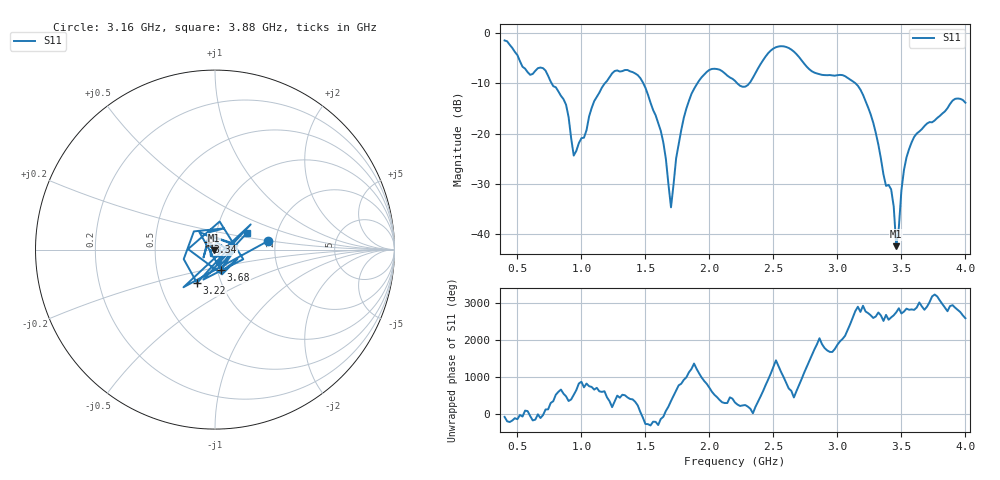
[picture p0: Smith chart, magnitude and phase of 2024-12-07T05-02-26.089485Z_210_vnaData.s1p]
!Created with skrf (http://scikit-rf.org).
# Hz S RI R 50.0
!freq ReS11 ImS11
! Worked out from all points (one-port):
!   181 points, 400 MHz to 4 GHz, reference 50 ohm
!   lowest |S11| = -42.4 dB at 3.46 GHz (marker M1), VSWR 1.02, Z = 49.4 - j0.485 ohm
!   |S11| at or under -10 dB: 767.8 MHz to 1.183 GHz (415 MHz wide, 42.5 % of centre); 1.484 GHz to 1.906 GHz (422 MHz wide, 24.9 % of centre); 3.142 GHz to end of sweep (the widest 3 of 4)
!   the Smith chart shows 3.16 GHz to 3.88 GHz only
!   S11 on the Smith chart (normalised r, x): 3.16 GHz: 1.83, +0.19; 3.22 GHz: 0.77, -0.30; 3.34 GHz: 0.92, +0.08; 3.68 GHz: 1.04, -0.24; 3.88 GHz: 1.40, +0.26
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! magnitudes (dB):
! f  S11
! 400 MHz  -1.5
! 860 MHz  -13.1
! 940 MHz  -24.4
! 1.1 GHz  -13.5
! 1.3 GHz  -7.6
! 1.5 GHz  -10.9
! 1.64 GHz  -21.8
! 1.7 GHz  -34.7
! 1.76 GHz  -22.1
! 1.84 GHz  -13.5
! 1.94 GHz  -8.8
! 2.2 GHz  -9.5
! 2.3 GHz  -10.3
! 2.52 GHz  -2.8
! 2.66 GHz  -3.7
! 3.1 GHz  -9.2
! 3.16 GHz  -10.5
! 3.22 GHz  -13.5
! 3.34 GHz  -25.0
! 3.38 GHz  -30.4
! 3.42 GHz  -31.1
! 3.44 GHz  -34.5
! 3.46 GHz  -42.4
! 3.52 GHz  -27.2
! 3.56 GHz  -23.1
! 3.68 GHz  -18.5
! 3.88 GHz  -14.1
! 4 GHz  -13.8
